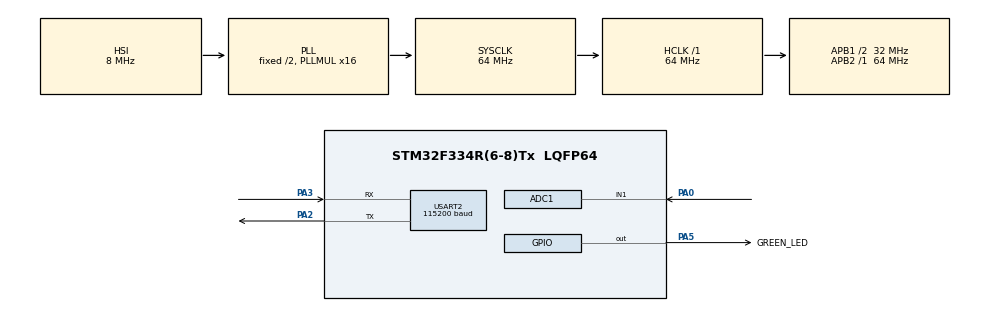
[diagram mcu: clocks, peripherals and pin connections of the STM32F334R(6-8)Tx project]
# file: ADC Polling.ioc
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ADC1.Channel-1\#ChannelRegularConversion=ADC_CHANNEL_1
ADC1.ContinuousConvMode=ENABLE
ADC1.NbrOfConversionFlag=1
ADC1.Offset-1\#ChannelRegularConversion=0
ADC1.OffsetNumber-1\#ChannelRegularConversion=ADC_OFFSET_NONE
ADC1.Rank-1\#ChannelRegularConversion=1
ADC1.SamplingTime-1\#ChannelRegularConversion=ADC_SAMPLETIME_1CYCLE_5
ADC1.SamplingTimeOPAMP-1\#ChannelRegularConversion=ADC_SAMPLETIME_61CYCLES_5
ADC1.SubFamily=STM32F334x8
ADC1.master=1
Mcu.Family=STM32F3
Mcu.Name=STM32F334R(6-8)Tx
Mcu.Package=LQFP64
NVIC.PriorityGroup=NVIC_PRIORITYGROUP_0
PA0.Mode=IN1-Single-Ended
PA0.Signal=ADC1_IN1
PA2.Mode=Asynchronous
PA2.Signal=USART2_TX
PA3.Mode=Asynchronous
PA3.Signal=USART2_RX
PA5.GPIO_Label=GREEN_LED
PA5.Signal=GPIO_Output
ProjectManager.HeapSize=0x200
ProjectManager.StackSize=0x400
ProjectManager.TargetToolchain=STM32CubeIDE
RCC.AHBFreq_Value=64000000
RCC.APB1CLKDivider=RCC_HCLK_DIV2
RCC.APB1Freq_Value=32000000
RCC.APB1TimFreq_Value=64000000
RCC.APB2Freq_Value=64000000
RCC.APB2TimFreq_Value=64000000
RCC.CortexFreq_Value=64000000
RCC.FLatency-AdvancedSettings=FLASH_LATENCY_2
RCC.HCLKFreq_Value=64000000
RCC.HSE_VALUE=8000000
RCC.HSI_VALUE=8000000
RCC.LSE_VALUE=32768
RCC.PLLMUL=RCC_PLL_MUL16
RCC.SYSCLKFreq_VALUE=64000000
RCC.SYSCLKSourceVirtual=RCC_SYSCLKSOURCE_PLLCLK
USART2.BaudRate=115200
USART2.VirtualMode-Asynchronous=VM_ASYNC
board=NUCLEO-F334R8

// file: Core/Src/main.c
/* USER CODE BEGIN Header */
/**
  ******************************************************************************
  * @file           : main.c
  * @brief          : Main program body
  ******************************************************************************
  * @attention
  *
  * Copyright (c) 2024 STMicroelectronics.
  * All rights reserved.
  *
  * This software is licensed under terms that can be found in the LICENSE file
  * in the root directory of this software component.
  * If no LICENSE file comes with this software, it is provided AS-IS.
  *
  ******************************************************************************
  */
/* USER CODE END Header */
#include "main.h"

/* USER CODE BEGIN Includes */
#include <stdio.h>
#include <stdbool.h>
/* USER CODE END Includes */

/* USER CODE BEGIN PD */

#define ADC_RESOLUTION 4096u
#define REF_VOLTAGE 3.3f
#define VOLT_PER_BIT (REF_VOLTAGE / (float)ADC_RESOLUTION)

/* USER CODE END PD */

ADC_HandleTypeDef hadc1;

UART_HandleTypeDef huart2;

void SystemClock_Config(void);
static void MX_GPIO_Init(void);
static void MX_USART2_UART_Init(void);
static void MX_ADC1_Init(void);

int main(void)
{

  /* MCU Configuration--------------------------------------------------------*/

  /* Reset of all peripherals, Initializes the Flash interface and the Systick. */
  HAL_Init();

  /* Configure the system clock */
  SystemClock_Config();

  /* Initialize all configured peripherals */
  MX_GPIO_Init();
  MX_USART2_UART_Init();
  MX_ADC1_Init();
  /* USER CODE BEGIN 2 */

  (void)HAL_ADC_Start(&hadc1);  // We must start the ADC
  uint32_t adc_val_read = 0u; // value read from ADC
  float calculated_voltage = 0.0f; // output voltage calculated

  char buffer[100] = "";
  HAL_StatusTypeDef ok_notok = HAL_BUSY;

  /* USER CODE END 2 */

  /* Infinite loop */
  while (1)
  {

    /* USER CODE BEGIN 3 */

	  ok_notok = HAL_ADC_PollForConversion(&hadc1, 100);

	  if (ok_notok == HAL_OK)
	  {
		  // First we need to read the ADC value
		  adc_val_read = HAL_ADC_GetValue(&hadc1);

		  // Then we can convert it based on the calculation of the volt per bit value.
		  calculated_voltage = VOLT_PER_BIT * adc_val_read;

		  // Then we can add this to a buffer to be sent out over the UART.
		  snprintf(buffer, 100, "Voltage read from ADC %.6f\r\n", calculated_voltage);

		  // Finally we can send the data out over the UART.
		  ok_notok = HAL_UART_Transmit(&huart2, (uint8_t *)buffer, 100, 100);
		  HAL_GPIO_WritePin(GREEN_LED_GPIO_Port, GREEN_LED_Pin, GPIO_PIN_RESET);
	  }
	  else
	  {
		  HAL_GPIO_WritePin(GREEN_LED_GPIO_Port, GREEN_LED_Pin, GPIO_PIN_SET);
	  }

	  HAL_Delay(1000);

  }
  /* USER CODE END 3 */
}

void SystemClock_Config(void)
{
  RCC_OscInitTypeDef RCC_OscInitStruct = {0};
  RCC_ClkInitTypeDef RCC_ClkInitStruct = {0};
  RCC_PeriphCLKInitTypeDef PeriphClkInit = {0};

  /** Initializes the RCC Oscillators according to the specified parameters
  * in the RCC_OscInitTypeDef structure.
  */
  RCC_OscInitStruct.OscillatorType = RCC_OSCILLATORTYPE_HSI;
  RCC_OscInitStruct.HSIState = RCC_HSI_ON;
  RCC_OscInitStruct.HSICalibrationValue = RCC_HSICALIBRATION_DEFAULT;
  RCC_OscInitStruct.PLL.PLLState = RCC_PLL_ON;
  RCC_OscInitStruct.PLL.PLLSource = RCC_PLLSOURCE_HSI;
  RCC_OscInitStruct.PLL.PLLMUL = RCC_PLL_MUL16;
  if (HAL_RCC_OscConfig(&RCC_OscInitStruct) != HAL_OK)
  {
    Error_Handler();
  }

  /** Initializes the CPU, AHB and APB buses clocks
  */
  RCC_ClkInitStruct.ClockType = RCC_CLOCKTYPE_HCLK|RCC_CLOCKTYPE_SYSCLK
                              |RCC_CLOCKTYPE_PCLK1|RCC_CLOCKTYPE_PCLK2;
  RCC_ClkInitStruct.SYSCLKSource = RCC_SYSCLKSOURCE_PLLCLK;
  RCC_ClkInitStruct.AHBCLKDivider = RCC_SYSCLK_DIV1;
  RCC_ClkInitStruct.APB1CLKDivider = RCC_HCLK_DIV2;
  RCC_ClkInitStruct.APB2CLKDivider = RCC_HCLK_DIV1;

  if (HAL_RCC_ClockConfig(&RCC_ClkInitStruct, FLASH_LATENCY_2) != HAL_OK)
  {
    Error_Handler();
  }
  PeriphClkInit.PeriphClockSelection = RCC_PERIPHCLK_ADC12;
  PeriphClkInit.Adc12ClockSelection = RCC_ADC12PLLCLK_DIV1;
  if (HAL_RCCEx_PeriphCLKConfig(&PeriphClkInit) != HAL_OK)
  {
    Error_Handler();
  }
}

static void MX_ADC1_Init(void)
{

  ADC_MultiModeTypeDef multimode = {0};
  ADC_ChannelConfTypeDef sConfig = {0};

  /** Common config
  */
  hadc1.Instance = ADC1;
  hadc1.Init.ClockPrescaler = ADC_CLOCK_ASYNC_DIV1;
  hadc1.Init.Resolution = ADC_RESOLUTION_12B;
  hadc1.Init.ScanConvMode = ADC_SCAN_DISABLE;
  hadc1.Init.ContinuousConvMode = ENABLE;
  hadc1.Init.DiscontinuousConvMode = DISABLE;
  hadc1.Init.ExternalTrigConvEdge = ADC_EXTERNALTRIGCONVEDGE_NONE;
  hadc1.Init.ExternalTrigConv = ADC_SOFTWARE_START;
  hadc1.Init.DataAlign = ADC_DATAALIGN_RIGHT;
  hadc1.Init.NbrOfConversion = 1;
  hadc1.Init.DMAContinuousRequests = DISABLE;
  hadc1.Init.EOCSelection = ADC_EOC_SINGLE_CONV;
  hadc1.Init.LowPowerAutoWait = DISABLE;
  hadc1.Init.Overrun = ADC_OVR_DATA_OVERWRITTEN;
  if (HAL_ADC_Init(&hadc1) != HAL_OK)
  {
    Error_Handler();
  }

  /** Configure the ADC multi-mode
  */
  multimode.Mode = ADC_MODE_INDEPENDENT;
  if (HAL_ADCEx_MultiModeConfigChannel(&hadc1, &multimode) != HAL_OK)
  {
    Error_Handler();
  }

  /** Configure Regular Channel
  */
  sConfig.Channel = ADC_CHANNEL_1;
  sConfig.Rank = ADC_REGULAR_RANK_1;
  sConfig.SingleDiff = ADC_SINGLE_ENDED;
  sConfig.SamplingTime = ADC_SAMPLETIME_1CYCLE_5;
  sConfig.OffsetNumber = ADC_OFFSET_NONE;
  sConfig.Offset = 0;
  if (HAL_ADC_ConfigChannel(&hadc1, &sConfig) != HAL_OK)
  {
    Error_Handler();
  }

}

static void MX_USART2_UART_Init(void)
{

  huart2.Instance = USART2;
  huart2.Init.BaudRate = 115200;
  huart2.Init.WordLength = UART_WORDLENGTH_8B;
  huart2.Init.StopBits = UART_STOPBITS_1;
  huart2.Init.Parity = UART_PARITY_NONE;
  huart2.Init.Mode = UART_MODE_TX_RX;
  huart2.Init.HwFlowCtl = UART_HWCONTROL_NONE;
  huart2.Init.OverSampling = UART_OVERSAMPLING_16;
  huart2.Init.OneBitSampling = UART_ONE_BIT_SAMPLE_DISABLE;
  huart2.AdvancedInit.AdvFeatureInit = UART_ADVFEATURE_NO_INIT;
  if (HAL_UART_Init(&huart2) != HAL_OK)
  {
    Error_Handler();
  }

}

static void MX_GPIO_Init(void)
{
  GPIO_InitTypeDef GPIO_InitStruct = {0};

  /* GPIO Ports Clock Enable */
  __HAL_RCC_GPIOA_CLK_ENABLE();

  /*Configure GPIO pin Output Level */
  HAL_GPIO_WritePin(GREEN_LED_GPIO_Port, GREEN_LED_Pin, GPIO_PIN_RESET);

  /*Configure GPIO pin : GREEN_LED_Pin */
  GPIO_InitStruct.Pin = GREEN_LED_Pin;
  GPIO_InitStruct.Mode = GPIO_MODE_OUTPUT_PP;
  GPIO_InitStruct.Pull = GPIO_NOPULL;
  GPIO_InitStruct.Speed = GPIO_SPEED_FREQ_LOW;
  HAL_GPIO_Init(GREEN_LED_GPIO_Port, &GPIO_InitStruct);

}

void Error_Handler(void)
{
  __disable_irq();
  while (1)
  {
  }
}
